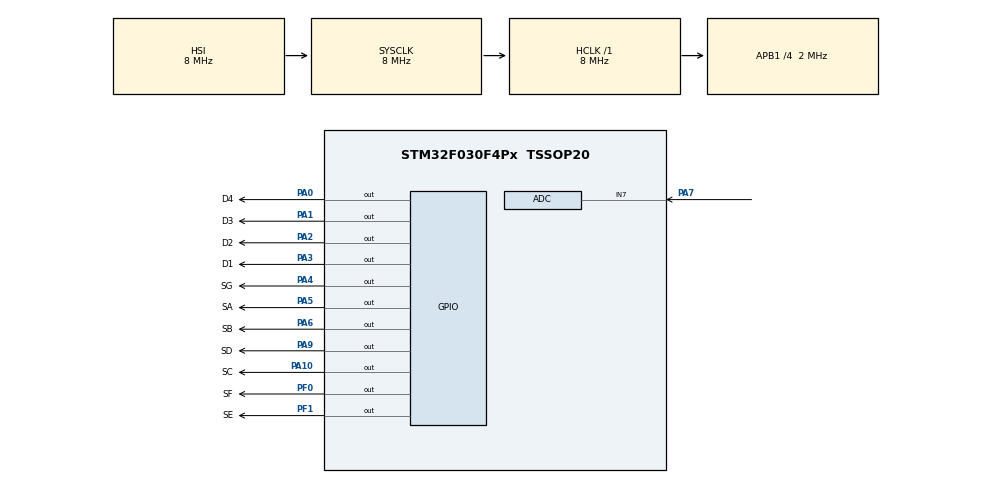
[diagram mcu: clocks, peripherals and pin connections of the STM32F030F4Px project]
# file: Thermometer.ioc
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ADC.Resolution=ADC_RESOLUTION_10B
Mcu.Family=STM32F0
Mcu.Name=STM32F030F4Px
Mcu.Package=TSSOP20
NVIC.TIM14_IRQn=true\:0\:0\:false\:false\:true\:true\:true
PA0.GPIO_Label=D4
PA0.Signal=GPIO_Output
PA1.GPIO_Label=D3
PA1.Signal=GPIO_Output
PA10.GPIO_Label=SC
PA10.Signal=GPIO_Output
PA2.GPIO_Label=D2
PA2.Signal=GPIO_Output
PA3.GPIO_Label=D1
PA3.Signal=GPIO_Output
PA4.GPIO_Label=SG
PA4.Signal=GPIO_Output
PA5.GPIO_Label=SA
PA5.Signal=GPIO_Output
PA6.GPIO_Label=SB
PA6.Signal=GPIO_Output
PA7.Mode=IN7
PA7.Signal=ADC_IN7
PA9.GPIO_Label=SD
PA9.Signal=GPIO_Output
PF0-OSC_IN.GPIO_Label=SF
PF0-OSC_IN.Signal=GPIO_Output
PF1-OSC_OUT.GPIO_Label=SE
PF1-OSC_OUT.Signal=GPIO_Output
ProjectManager.HeapSize=0x200
ProjectManager.StackSize=0x400
ProjectManager.TargetToolchain=SW4STM32
RCC.AHBFreq_Value=8000000
RCC.APB1CLKDivider=RCC_HCLK_DIV4
RCC.APB1Freq_Value=2000000
RCC.APB1TimFreq_Value=4000000
RCC.HCLKFreq_Value=8000000
RCC.PLLMUL=RCC_PLL_MUL12
RCC.SYSCLKFreq_VALUE=8000000
TIM14.Period=899
TIM14.Prescaler=899
VP_TIM14_VS_ClockSourceINT.Mode=Enable_Timer
board=custom

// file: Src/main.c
/* USER CODE BEGIN Header */
/**
 ******************************************************************************
 * @file           : main.c
 * @brief          : Main program body
 ******************************************************************************
 * @attention
 *
 * <h2><center>&copy; Copyright (c) 2019 STMicroelectronics.
 * All rights reserved.</center></h2>
 *
 * This software component is licensed by ST under BSD 3-Clause license,
 * the "License"; You may not use this file except in compliance with the
 * License. You may obtain a copy of the License at:
 *                        opensource.org/licenses/BSD-3-Clause
 *
 ******************************************************************************
 ******************************************************************************
 *test
 *
 *
 */
/* USER CODE END Header */

#include "main.h"

/* USER CODE BEGIN PD */

#define SA_ON HAL_GPIO_WritePin(SA_GPIO_Port, SA_Pin, 0)
#define SB_ON HAL_GPIO_WritePin(SB_GPIO_Port, SB_Pin, 0)
#define SC_ON HAL_GPIO_WritePin(SC_GPIO_Port, SC_Pin, 0)
#define SD_ON HAL_GPIO_WritePin(SD_GPIO_Port, SD_Pin, 0)
#define SE_ON HAL_GPIO_WritePin(SE_GPIO_Port, SE_Pin, 0)
#define SF_ON HAL_GPIO_WritePin(SF_GPIO_Port, SF_Pin, 0)
#define SG_ON HAL_GPIO_WritePin(SG_GPIO_Port, SG_Pin, 0)

#define SA_OFF HAL_GPIO_WritePin(SA_GPIO_Port, SA_Pin, 1)
#define SB_OFF HAL_GPIO_WritePin(SB_GPIO_Port, SB_Pin, 1)
#define SC_OFF HAL_GPIO_WritePin(SC_GPIO_Port, SC_Pin, 1)
#define SD_OFF HAL_GPIO_WritePin(SD_GPIO_Port, SD_Pin, 1)
#define SE_OFF HAL_GPIO_WritePin(SE_GPIO_Port, SE_Pin, 1)
#define SF_OFF HAL_GPIO_WritePin(SF_GPIO_Port, SF_Pin, 1)
#define SG_OFF HAL_GPIO_WritePin(SG_GPIO_Port, SG_Pin, 1)

//digits. We have 4, from 1 to 4. Digits are anodes, so you can turn it on by pulling
//to supply voltage
#define D1_ON HAL_GPIO_WritePin(D1_GPIO_Port, D1_Pin, 1)
#define D2_ON HAL_GPIO_WritePin(D2_GPIO_Port, D2_Pin, 1)
#define D3_ON HAL_GPIO_WritePin(D3_GPIO_Port, D3_Pin, 1)
#define D4_ON HAL_GPIO_WritePin(D4_GPIO_Port, D4_Pin, 1)

#define D1_OFF HAL_GPIO_WritePin(D1_GPIO_Port, D1_Pin, 0)
#define D2_OFF HAL_GPIO_WritePin(D2_GPIO_Port, D2_Pin, 0)
#define D3_OFF HAL_GPIO_WritePin(D3_GPIO_Port, D3_Pin, 0)
#define D4_OFF HAL_GPIO_WritePin(D4_GPIO_Port, D4_Pin, 0)

//turning off
#define D_OFF D1_OFF; D2_OFF; D3_OFF; D4_OFF
#define S_OFF SA_OFF; SB_OFF; SC_OFF; SD_OFF; SE_OFF; SF_OFF; SG_OFF
#define ALL_OFF D_OFF; S_OFF

//display delay
#define WAIT HAL_Delay(1)

//buttons
#define CLEAR HAL_GPIO_ReadPin(CLEAR_GPIO_Port, CLEAR_Pin) == 0
#define SET HAL_GPIO_ReadPin(SET_GPIO_Port, SET_Pin) == 0

/* USER CODE END PD */

ADC_HandleTypeDef hadc;

TIM_HandleTypeDef htim14;

/* USER CODE BEGIN PV */
float reading;
float temp = 0;
float vsense;
float buffer[20];
int counter;
/* USER CODE END PV */

void SystemClock_Config(void);
static void MX_GPIO_Init(void);
static void MX_ADC_Init(void);
static void MX_TIM14_Init(void);
/* USER CODE BEGIN PFP */
void display(int position, int number);
void display_twice(int position, int number);

void HAL_TIM_PeriodElapsedCallback(TIM_HandleTypeDef *htim) {
	if (buffer[0] > temp && buffer[1] > temp && buffer[2] > temp
			&& buffer[3] > temp && buffer[4] > temp && buffer[5] > temp
			&& buffer[6] > temp && buffer[7] > temp && buffer[8] > temp
			&& buffer[9] > temp && buffer[10] > temp && buffer[11] > temp
			&& buffer[12] > temp && buffer[13] > temp && buffer[14] > temp
			&& buffer[15] > temp && buffer[16] > temp && buffer[17] > temp
			&& buffer[18] > temp && buffer[19] > temp) {
		temp++;
	} else if (buffer[0] < temp && buffer[1] < temp && buffer[2] < temp
			&& buffer[3] < temp && buffer[4] < temp && buffer[5] < temp
			&& buffer[6] < temp && buffer[7] < temp && buffer[8] < temp
			&& buffer[9] < temp && buffer[10] < temp && buffer[11] < temp
			&& buffer[12] < temp && buffer[13] < temp && buffer[14] < temp
			&& buffer[15] < temp && buffer[16] < temp && buffer[17] < temp
			&& buffer[18] < temp && buffer[19] < temp) {
		temp--;
	}

}
/* USER CODE END PFP */

int main(void) {

	/* MCU Configuration--------------------------------------------------------*/

	/* Reset of all peripherals, Initializes the Flash interface and the Systick. */
	HAL_Init();

	/* Configure the system clock */
	SystemClock_Config();

	/* Initialize all configured peripherals */
	MX_GPIO_Init();
	MX_ADC_Init();
	MX_TIM14_Init();
	/* USER CODE BEGIN 2 */
	HAL_ADC_Start(&hadc);
	HAL_TIM_Base_Start_IT(&htim14);
	/* USER CODE END 2 */

	/* Infinite loop */
	/* USER CODE BEGIN WHILE */
	while (1) {

		if (HAL_ADC_PollForConversion(&hadc, 100) == HAL_OK) {

			reading = HAL_ADC_GetValue(&hadc);
			HAL_ADC_Start(&hadc);

			vsense = (reading * 3.3) / 1023;

			//temp = vsense * 100;
			buffer[counter] = vsense * 100;
			counter++;
			if (counter > 20)
				counter = 0;

		}

//		vsense = (reading / 4095) * 3.3;
//		temp = ((v30 - vsense) / avgSlope) + 30;

//		vsense = (reading * 2.5) / 4095;
//		temp = vsense * 100;

		display_twice(1, temp);
		display(3, 10); //degree
		display(4, 11); //Celsius

		/* USER CODE END WHILE */

	}
}

void SystemClock_Config(void) {
	RCC_OscInitTypeDef RCC_OscInitStruct = { 0 };
	RCC_ClkInitTypeDef RCC_ClkInitStruct = { 0 };

	/** Initializes the CPU, AHB and APB busses clocks
	 */
	RCC_OscInitStruct.OscillatorType = RCC_OSCILLATORTYPE_HSI
			| RCC_OSCILLATORTYPE_HSI14;
	RCC_OscInitStruct.HSIState = RCC_HSI_ON;
	RCC_OscInitStruct.HSI14State = RCC_HSI14_ON;
	RCC_OscInitStruct.HSICalibrationValue = RCC_HSICALIBRATION_DEFAULT;
	RCC_OscInitStruct.HSI14CalibrationValue = 16;
	RCC_OscInitStruct.PLL.PLLState = RCC_PLL_NONE;
	if (HAL_RCC_OscConfig(&RCC_OscInitStruct) != HAL_OK) {
		Error_Handler();
	}
	/** Initializes the CPU, AHB and APB busses clocks
	 */
	RCC_ClkInitStruct.ClockType = RCC_CLOCKTYPE_HCLK | RCC_CLOCKTYPE_SYSCLK
			| RCC_CLOCKTYPE_PCLK1;
	RCC_ClkInitStruct.SYSCLKSource = RCC_SYSCLKSOURCE_HSI;
	RCC_ClkInitStruct.AHBCLKDivider = RCC_SYSCLK_DIV1;
	RCC_ClkInitStruct.APB1CLKDivider = RCC_HCLK_DIV4;

	if (HAL_RCC_ClockConfig(&RCC_ClkInitStruct, FLASH_LATENCY_0) != HAL_OK) {
		Error_Handler();
	}
}

static void MX_ADC_Init(void) {

	ADC_ChannelConfTypeDef sConfig = { 0 };

	/** Configure the global features of the ADC (Clock, Resolution, Data Alignment and number of conversion)
	 */
	hadc.Instance = ADC1;
	hadc.Init.ClockPrescaler = ADC_CLOCK_ASYNC_DIV1;
	hadc.Init.Resolution = ADC_RESOLUTION_10B;
	hadc.Init.DataAlign = ADC_DATAALIGN_RIGHT;
	hadc.Init.ScanConvMode = ADC_SCAN_DIRECTION_FORWARD;
	hadc.Init.EOCSelection = ADC_EOC_SINGLE_CONV;
	hadc.Init.LowPowerAutoWait = DISABLE;
	hadc.Init.LowPowerAutoPowerOff = DISABLE;
	hadc.Init.ContinuousConvMode = DISABLE;
	hadc.Init.DiscontinuousConvMode = DISABLE;
	hadc.Init.ExternalTrigConv = ADC_SOFTWARE_START;
	hadc.Init.ExternalTrigConvEdge = ADC_EXTERNALTRIGCONVEDGE_NONE;
	hadc.Init.DMAContinuousRequests = DISABLE;
	hadc.Init.Overrun = ADC_OVR_DATA_PRESERVED;
	if (HAL_ADC_Init(&hadc) != HAL_OK) {
		Error_Handler();
	}
	/** Configure for the selected ADC regular channel to be converted.
	 */
	sConfig.Channel = ADC_CHANNEL_7;
	sConfig.Rank = ADC_RANK_CHANNEL_NUMBER;
	sConfig.SamplingTime = ADC_SAMPLETIME_1CYCLE_5;
	if (HAL_ADC_ConfigChannel(&hadc, &sConfig) != HAL_OK) {
		Error_Handler();
	}

}

static void MX_TIM14_Init(void) {

	htim14.Instance = TIM14;
	htim14.Init.Prescaler = 899;
	htim14.Init.CounterMode = TIM_COUNTERMODE_UP;
	htim14.Init.Period = 899;
	htim14.Init.ClockDivision = TIM_CLOCKDIVISION_DIV1;
	htim14.Init.AutoReloadPreload = TIM_AUTORELOAD_PRELOAD_DISABLE;
	if (HAL_TIM_Base_Init(&htim14) != HAL_OK) {
		Error_Handler();
	}

}

static void MX_GPIO_Init(void) {
	GPIO_InitTypeDef GPIO_InitStruct = { 0 };

	/* GPIO Ports Clock Enable */
	__HAL_RCC_GPIOF_CLK_ENABLE()
	;
	__HAL_RCC_GPIOA_CLK_ENABLE()
	;

	/*Configure GPIO pin Output Level */
	HAL_GPIO_WritePin(GPIOF, SF_Pin | SE_Pin, GPIO_PIN_RESET);

	/*Configure GPIO pin Output Level */
	HAL_GPIO_WritePin(GPIOA,
			D4_Pin | D3_Pin | D2_Pin | D1_Pin | SG_Pin | SA_Pin | SB_Pin
					| SD_Pin | SC_Pin, GPIO_PIN_RESET);

	/*Configure GPIO pins : SF_Pin SE_Pin */
	GPIO_InitStruct.Pin = SF_Pin | SE_Pin;
	GPIO_InitStruct.Mode = GPIO_MODE_OUTPUT_PP;
	GPIO_InitStruct.Pull = GPIO_NOPULL;
	GPIO_InitStruct.Speed = GPIO_SPEED_FREQ_LOW;
	HAL_GPIO_Init(GPIOF, &GPIO_InitStruct);

	/*Configure GPIO pins : D4_Pin D3_Pin D2_Pin D1_Pin
	 SG_Pin SA_Pin SB_Pin SD_Pin
	 SC_Pin */
	GPIO_InitStruct.Pin = D4_Pin | D3_Pin | D2_Pin | D1_Pin | SG_Pin | SA_Pin
			| SB_Pin | SD_Pin | SC_Pin;
	GPIO_InitStruct.Mode = GPIO_MODE_OUTPUT_PP;
	GPIO_InitStruct.Pull = GPIO_NOPULL;
	GPIO_InitStruct.Speed = GPIO_SPEED_FREQ_LOW;
	HAL_GPIO_Init(GPIOA, &GPIO_InitStruct);

}

/* USER CODE BEGIN 4 */
void display(int position, int number) {
	ALL_OFF
	;
	int ok = 1;
	switch (position) {
	case 1:
		D1_ON;
		break;
	case 2:
		D2_ON;
		break;
	case 3:
		D3_ON;
		break;
	case 4:
		D4_ON;
		break;
	default:
		ok = 0;		//secure. Dont turn LEDs, if position is different than 1-4
	}
	if (ok == 1) {
		switch (number) {
		case 0:
			SA_ON;
			SB_ON;
			SC_ON;
			SD_ON;
			SE_ON;
			SF_ON;
			break;
		case 1:
			SB_ON;
			SC_ON;
			break;
		case 2:
			SA_ON;
			SB_ON;
			SG_ON;
			SE_ON;
			SD_ON;
			break;
		case 3:
			SA_ON;
			SB_ON;
			SG_ON;
			SC_ON;
			SD_ON;
			break;

		case 4:
			SB_ON;
			SG_ON;
			SF_ON;
			SC_ON;
			break;
		case 5:
			SA_ON;
			SF_ON;
			SG_ON;
			SC_ON;
			SD_ON;
			break;

		case 6:
			SA_ON;
			SF_ON;
			SG_ON;
			SC_ON;
			SE_ON;
			SD_ON;
			break;

		case 7:
			SA_ON;
			SB_ON;
			SC_ON;
			break;

		case 8:
			SA_ON;
			SB_ON;
			SC_ON;
			SD_ON;
			SE_ON;
			SF_ON;
			SG_ON;
			break;

		case 9:
			SA_ON;
			SB_ON;
			SC_ON;
			SD_ON;
			SG_ON;
			SF_ON;
			break;

		case 10:		//degree
			SA_ON;
			SB_ON;
			SG_ON;
			SF_ON;
			break;

		case 11:		//C letter

			SA_ON;
			SF_ON;
			SE_ON;
			SD_ON;
			break;

		}
	}
	WAIT;
	ALL_OFF
	;
}

void display_twice(int position, int number) {
	int first_digit;
	int second_digit;
	ALL_OFF
	;
//brake a number into two digits
	if (number <= 9) {
		first_digit = 0;
		second_digit = number;
	}
	if ((number >= 10) && (number <= 19)) {		//check if number is from range
		first_digit = 1;
		second_digit = number - 10;
	}
	if ((number >= 20) && (number <= 29)) {		//check if number is from range
		first_digit = 2;
		second_digit = number - 20;
	}
	if ((number >= 30) && (number <= 39)) {		//check if number is from range
		first_digit = 3;
		second_digit = number - 30;
	}
	if ((number >= 40) && (number <= 49)) {		//check if number is from range
		first_digit = 4;
		second_digit = number - 40;
	}
	if ((number >= 50) && (number <= 59)) {		//check if number is from range
		first_digit = 5;
		second_digit = number - 50;
	}
	if ((number >= 60) && (number <= 69)) {		//check if number is from range
		first_digit = 6;
		second_digit = number - 60;
	}
	if ((number >= 70) && (number <= 79)) {		//check if number is from range
		first_digit = 7;
		second_digit = number - 70;
	}
	if ((number >= 80) && (number <= 89)) {		//check if number is from range
		first_digit = 8;
		second_digit = number - 80;
	}
	if ((number >= 90) && (number <= 99)) {		//check if number is from range
		first_digit = 8;
		second_digit = number - 90;
	}

	display(position, first_digit);
	display(position + 1, second_digit);

}
/* USER CODE END 4 */

void Error_Handler(void) {
}

/************************ (C) COPYRIGHT STMicroelectronics *****END OF FILE****/
